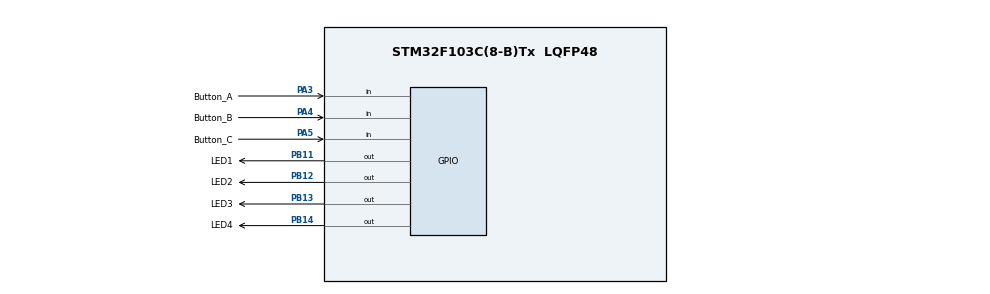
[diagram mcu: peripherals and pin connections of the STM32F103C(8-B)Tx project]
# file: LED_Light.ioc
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Mcu.Family=STM32F1
Mcu.Name=STM32F103C(8-B)Tx
Mcu.Package=LQFP48
NVIC.PriorityGroup=NVIC_PRIORITYGROUP_4
PA13.Mode=Serial_Wire
PA13.Signal=SYS_JTMS-SWDIO
PA14.Mode=Serial_Wire
PA14.Signal=SYS_JTCK-SWCLK
PA3.GPIO_Label=Button_A
PA3.GPIO_PuPd=GPIO_PULLUP
PA3.Signal=GPIO_Input
PA4.GPIO_Label=Button_B
PA4.GPIO_PuPd=GPIO_PULLUP
PA4.Signal=GPIO_Input
PA5.GPIO_Label=Button_C
PA5.GPIO_PuPd=GPIO_PULLUP
PA5.Signal=GPIO_Input
PB11.GPIO_Label=LED1
PB11.Signal=GPIO_Output
PB12.GPIO_Label=LED2
PB12.Signal=GPIO_Output
PB13.GPIO_Label=LED3
PB13.Signal=GPIO_Output
PB14.GPIO_Label=LED4
PB14.Signal=GPIO_Output
PD0-OSC_IN.Mode=HSE-External-Oscillator
PD0-OSC_IN.Signal=RCC_OSC_IN
PD1-OSC_OUT.Mode=HSE-External-Oscillator
PD1-OSC_OUT.Signal=RCC_OSC_OUT
ProjectManager.HeapSize=0x200
ProjectManager.StackSize=0x400
ProjectManager.TargetToolchain=STM32CubeIDE
RCC.APB1Freq_Value=8000000
RCC.APB2Freq_Value=8000000
board=custom

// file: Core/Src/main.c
/* USER CODE BEGIN Header */
/**
  ******************************************************************************
  * @file           : main.c
  * @brief          : Main program body
  ******************************************************************************
  */
/* USER CODE END Header */

#include "main.h"

/* USER CODE BEGIN Includes */
#include "GPIO_x.h"
/* USER CODE END Includes */

/* USER CODE BEGIN PV */
typedef enum {
    DIR_STOP  = 0,
    DIR_LEFT,     // Button A: phải -> trái  (PB14 -> PB13 -> PB12 -> PB11)
    DIR_RIGHT     // Button C: trái -> phải  (PB11 -> PB12 -> PB13 -> PB14)
} Direction_t;

/* Mảng LED theo thứ tự từ TRÁI sang PHẢI
 * index 0 = PB11 (D1, trái nhất)
 * index 3 = PB14 (D4, phải nhất)  */
static const uint16_t LED_PINS[4] = {
    GPIOx_Pin_11,  // index 0 - trái
    GPIOx_Pin_12,  // index 1
    GPIOx_Pin_13,  // index 2
    GPIOx_Pin_14   // index 3 - phải
};

static Direction_t  g_dir      = DIR_STOP;
static int8_t       g_ledIdx   = 0;
/* USER CODE END PV */

void SystemClock_Config(void);
static void MX_GPIO_Init(void);

/* USER CODE BEGIN PFP */
static void LED_AllOff(void);
static void LED_ShowIndex(int8_t idx);
/* USER CODE END PFP */

/* USER CODE BEGIN 0 */
static void LED_AllOff(void)
{
    GPIOx_Write(GPIOB, GPIOx_Pin_11, 0);
    GPIOx_Write(GPIOB, GPIOx_Pin_12, 0);
    GPIOx_Write(GPIOB, GPIOx_Pin_13, 0);
    GPIOx_Write(GPIOB, GPIOx_Pin_14, 0);
}

static void LED_ShowIndex(int8_t idx)
{
    LED_AllOff();
    GPIOx_Write(GPIOB, LED_PINS[idx], 1);
}
/* USER CODE END 0 */

int main(void)
{

    HAL_Init();
    SystemClock_Config();
    MX_GPIO_Init();

    /* USER CODE BEGIN 2 */

    /* --- Khởi tạo 4 LED (PB11-PB14): Output Push-Pull --- */
    GPIOx_Init(GPIOB, GPIOx_Pin_11, OUT_PUSH_PULL, NO_PULL, OUTPUT_SPEED_2MHZ);
    GPIOx_Init(GPIOB, GPIOx_Pin_12, OUT_PUSH_PULL, NO_PULL, OUTPUT_SPEED_2MHZ);
    GPIOx_Init(GPIOB, GPIOx_Pin_13, OUT_PUSH_PULL, NO_PULL, OUTPUT_SPEED_2MHZ);
    GPIOx_Init(GPIOB, GPIOx_Pin_14, OUT_PUSH_PULL, NO_PULL, OUTPUT_SPEED_2MHZ);

    /* --- Khởi tạo 3 Button (PA3, PA4, PA5): Input Pull-Up --- */
    GPIOx_Init(GPIOA, GPIOx_Pin_3, INPUT_PULL_UP_DOW, PULL_UP, INPUT_MODE);
    GPIOx_Init(GPIOA, GPIOx_Pin_4, INPUT_PULL_UP_DOW, PULL_UP, INPUT_MODE);
    GPIOx_Init(GPIOA, GPIOx_Pin_5, INPUT_PULL_UP_DOW, PULL_UP, INPUT_MODE);

    LED_AllOff();

    /* Lưu trạng thái trước để detect cạnh nhả (released edge) */
    uint8_t prevA = 1, prevB = 1, prevC = 1;
    uint8_t currA,     currB,     currC;

    /* Debounce */
    uint32_t lastEventTick = 0;
    const uint32_t DEBOUNCE_MS = 50;

    /* Tốc độ dịch LED */
    uint32_t lastStepTick  = 0;
    const uint32_t STEP_MS = 300;

    /* USER CODE END 2 */

    /* USER CODE BEGIN WHILE */
    while (1)
    {
        /* ===== 1. ĐỌC BUTTON & DETECT CẠNH NHẢ ===== */
        currA = GPIOx_Read(GPIOA, GPIOx_Pin_3);  // 0 = đang nhấn, 1 = nhả
        currB = GPIOx_Read(GPIOA, GPIOx_Pin_4);
        currC = GPIOx_Read(GPIOA, GPIOx_Pin_5);

        uint32_t now = HAL_GetTick();

        if ((now - lastEventTick) >= DEBOUNCE_MS)
        {
            /* Button A nhả -> chạy phải sang trái, bắt đầu từ PB14 */
            if (prevA == 0 && currA == 1)
            {
                g_dir    = DIR_LEFT;
                g_ledIdx = 3;           // Bắt đầu từ index 3 = PB14
                LED_ShowIndex(g_ledIdx);
                lastStepTick  = now;
                lastEventTick = now;
            }

            /* Button B nhả -> dừng, tắt hết LED */
            if (prevB == 0 && currB == 1)
            {
                g_dir = DIR_STOP;
                LED_AllOff();
                lastEventTick = now;
            }

            /* Button C nhả -> chạy trái sang phải, bắt đầu từ PB11 */
            if (prevC == 0 && currC == 1)
            {
                g_dir    = DIR_RIGHT;
                g_ledIdx = 0;           // Bắt đầu từ index 0 = PB11
                LED_ShowIndex(g_ledIdx);
                lastStepTick  = now;
                lastEventTick = now;
            }
        }

        /* Cập nhật trạng thái trước */
        prevA = currA;
        prevB = currB;
        prevC = currC;

        /* ===== 2. CẬP NHẬT LED THEO THỜI GIAN ===== */
        if (g_dir != DIR_STOP && (now - lastStepTick) >= STEP_MS)
        {
            lastStepTick = now;

            if (g_dir == DIR_LEFT)
            {
                g_ledIdx--;
                if (g_ledIdx < 0) g_ledIdx = 3;  // Quay vòng: PB11 -> PB14
            }
            else // DIR_RIGHT
            {
                g_ledIdx++;
                if (g_ledIdx > 3) g_ledIdx = 0;  // Quay vòng: PB14 -> PB11
            }

            LED_ShowIndex(g_ledIdx);
        }

        /* USER CODE END WHILE */
    }
}

void SystemClock_Config(void)
{
    RCC_OscInitTypeDef RCC_OscInitStruct = {0};
    RCC_ClkInitTypeDef RCC_ClkInitStruct = {0};

    RCC_OscInitStruct.OscillatorType      = RCC_OSCILLATORTYPE_HSI;
    RCC_OscInitStruct.HSIState            = RCC_HSI_ON;
    RCC_OscInitStruct.HSICalibrationValue = RCC_HSICALIBRATION_DEFAULT;
    RCC_OscInitStruct.PLL.PLLState        = RCC_PLL_NONE;
    if (HAL_RCC_OscConfig(&RCC_OscInitStruct) != HAL_OK)
    {
        Error_Handler();
    }

    RCC_ClkInitStruct.ClockType      = RCC_CLOCKTYPE_HCLK | RCC_CLOCKTYPE_SYSCLK
                                     | RCC_CLOCKTYPE_PCLK1 | RCC_CLOCKTYPE_PCLK2;
    RCC_ClkInitStruct.SYSCLKSource   = RCC_SYSCLKSOURCE_HSI;
    RCC_ClkInitStruct.AHBCLKDivider  = RCC_SYSCLK_DIV1;
    RCC_ClkInitStruct.APB1CLKDivider = RCC_HCLK_DIV1;
    RCC_ClkInitStruct.APB2CLKDivider = RCC_HCLK_DIV1;
    if (HAL_RCC_ClockConfig(&RCC_ClkInitStruct, FLASH_LATENCY_0) != HAL_OK)
    {
        Error_Handler();
    }
}

static void MX_GPIO_Init(void)
{
    /* GPIO Ports Clock Enable - GPIOD cần cho HSE/OSC */
    __HAL_RCC_GPIOD_CLK_ENABLE();
    /* GPIOA và GPIOB sẽ được bật bởi GPIOx_Init() */
}

void Error_Handler(void)
{
    __disable_irq();
    while (1) {}
}
